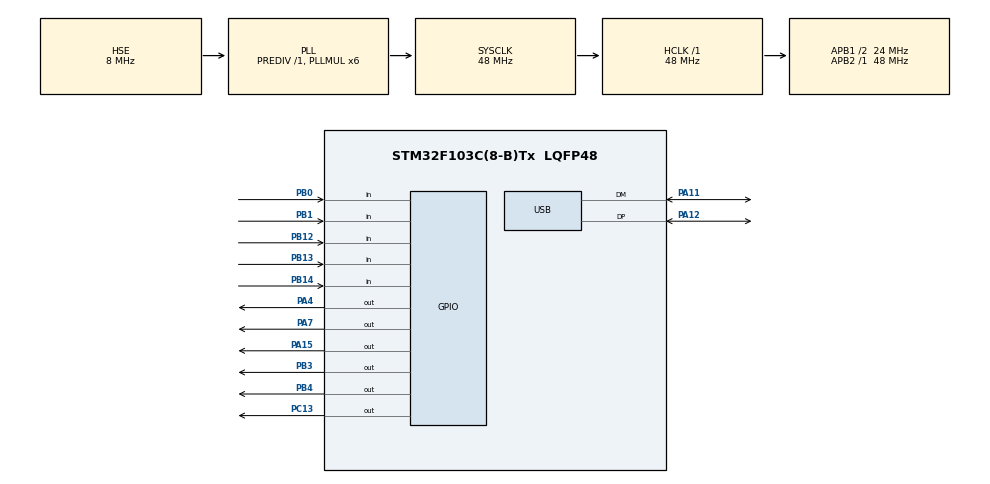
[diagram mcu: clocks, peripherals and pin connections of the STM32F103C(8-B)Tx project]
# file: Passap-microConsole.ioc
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Mcu.Family=STM32F1
Mcu.Name=STM32F103C(8-B)Tx
Mcu.Package=LQFP48
NVIC.PriorityGroup=NVIC_PRIORITYGROUP_4
NVIC.USB_LP_CAN1_RX0_IRQn=true\:0\:0\:false\:false\:true\:false\:true\:true
PA11.Mode=Device
PA11.Signal=USB_DM
PA12.Mode=Device
PA12.Signal=USB_DP
PA13.Mode=Serial_Wire
PA13.Signal=SYS_JTMS-SWDIO
PA14.Mode=Serial_Wire
PA14.Signal=SYS_JTCK-SWCLK
PA15.Signal=GPIO_Output
PA4.Signal=GPIO_Output
PA7.Signal=GPIO_Output
PB0.GPIO_PuPd=GPIO_PULLUP
PB0.Signal=GPIO_Input
PB1.GPIO_PuPd=GPIO_PULLUP
PB1.Signal=GPIO_Input
PB12.Signal=GPIO_Input
PB13.Signal=GPIO_Input
PB14.GPIO_PuPd=GPIO_PULLUP
PB14.Signal=GPIO_Input
PB3.Signal=GPIO_Output
PB4.Signal=GPIO_Output
PC13-TAMPER-RTC.Signal=GPIO_Output
PD0-OSC_IN.Mode=HSE-External-Oscillator
PD0-OSC_IN.Signal=RCC_OSC_IN
PD1-OSC_OUT.Mode=HSE-External-Oscillator
PD1-OSC_OUT.Signal=RCC_OSC_OUT
ProjectManager.HeapSize=0x200
ProjectManager.StackSize=0x400
ProjectManager.TargetToolchain=STM32CubeIDE
RCC.AHBFreq_Value=48000000
RCC.APB1CLKDivider=RCC_HCLK_DIV2
RCC.APB1Freq_Value=24000000
RCC.APB1TimFreq_Value=48000000
RCC.APB2Freq_Value=48000000
RCC.APB2TimFreq_Value=48000000
RCC.HCLKFreq_Value=48000000
RCC.PLLMUL=RCC_PLL_MUL6
RCC.SYSCLKFreq_VALUE=48000000
RCC.SYSCLKSource=RCC_SYSCLKSOURCE_PLLCLK
RCC.USBFreq_Value=48000000
USB_DEVICE.CLASS_NAME_FS=CDC
USB_DEVICE.VirtualMode=Cdc
USB_DEVICE.VirtualModeFS=Cdc_FS
VP_USB_DEVICE_VS_USB_DEVICE_CDC_FS.Mode=CDC_FS
board=custom

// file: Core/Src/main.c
/* USER CODE BEGIN Header */
/**
  ******************************************************************************
  * @file           : main.c
  * @brief          : Main program body
  ******************************************************************************
  * @attention
  *
  * Copyright (c) 2024 STMicroelectronics.
  * All rights reserved.
  *
  * This software is licensed under terms that can be found in the LICENSE file
  * in the root directory of this software component.
  * If no LICENSE file comes with this software, it is provided AS-IS.
  *
  ******************************************************************************
  */
  /* USER CODE END Header */
  /* Includes ------------------------------------------------------------------*/
#include "../Inc/main.h"
#include "usb_device.h"

/* USER CODE BEGIN Includes */
#include <stdio.h>
#include <string.h>
#include <inttypes.h>
#include "usbd_cdc_if.h"
#include "../Inc/index_tmp.hpp"
/* USER CODE END Includes */

void SystemClock_Config(void);
static void MX_GPIO_Init(void);

int main(void)
{

	/* MCU Configuration--------------------------------------------------------*/

	/* Reset of all peripherals, Initializes the Flash interface and the Systick. */
	HAL_Init();

	/* Configure the system clock */
	SystemClock_Config();

	/* Initialize all configured peripherals */
	MX_GPIO_Init();
	MX_USB_DEVICE_Init();
	/* USER CODE BEGIN 2 */

	uint8_t TxBuffer[] = " Passap MicroConsole  ";
	uint8_t TxBufferLen = sizeof(TxBuffer);
	int n2 = 5;
	while (n2 > 0) {
		CDC_Transmit_FS(TxBuffer, TxBufferLen);
		HAL_Delay(1000);
		--n2;
	};

	uint8_t  TxBuffer1[] = " Connection established ";
	CDC_Transmit_FS(TxBuffer1, 24);
	HAL_Delay(50);

#ifdef __cplusplus
	extern "C" {
#endif

		main_index(); // index.cpp

#ifdef __cplusplus
	}
#endif

	/* USER CODE END 2 */

	/* Infinite loop */
	while (1)
	{

	}
}

void SystemClock_Config(void)
{
	RCC_OscInitTypeDef RCC_OscInitStruct = { 0 };
	RCC_ClkInitTypeDef RCC_ClkInitStruct = { 0 };
	RCC_PeriphCLKInitTypeDef PeriphClkInit = { 0 };

	/** Initializes the RCC Oscillators according to the specified parameters
	* in the RCC_OscInitTypeDef structure.
	*/
	RCC_OscInitStruct.OscillatorType = RCC_OSCILLATORTYPE_HSE;
	RCC_OscInitStruct.HSEState = RCC_HSE_ON;
	RCC_OscInitStruct.HSEPredivValue = RCC_HSE_PREDIV_DIV1;
	RCC_OscInitStruct.HSIState = RCC_HSI_ON;
	RCC_OscInitStruct.PLL.PLLState = RCC_PLL_ON;
	RCC_OscInitStruct.PLL.PLLSource = RCC_PLLSOURCE_HSE;
	RCC_OscInitStruct.PLL.PLLMUL = RCC_PLL_MUL6;
	if (HAL_RCC_OscConfig(&RCC_OscInitStruct) != HAL_OK)
	{
		Error_Handler();
	}

	/** Initializes the CPU, AHB and APB buses clocks
	*/
	RCC_ClkInitStruct.ClockType = RCC_CLOCKTYPE_HCLK | RCC_CLOCKTYPE_SYSCLK
		| RCC_CLOCKTYPE_PCLK1 | RCC_CLOCKTYPE_PCLK2;
	RCC_ClkInitStruct.SYSCLKSource = RCC_SYSCLKSOURCE_PLLCLK;
	RCC_ClkInitStruct.AHBCLKDivider = RCC_SYSCLK_DIV1;
	RCC_ClkInitStruct.APB1CLKDivider = RCC_HCLK_DIV2;
	RCC_ClkInitStruct.APB2CLKDivider = RCC_HCLK_DIV1;

	if (HAL_RCC_ClockConfig(&RCC_ClkInitStruct, FLASH_LATENCY_1) != HAL_OK)
	{
		Error_Handler();
	}
	PeriphClkInit.PeriphClockSelection = RCC_PERIPHCLK_USB;
	PeriphClkInit.UsbClockSelection = RCC_USBCLKSOURCE_PLL;
	if (HAL_RCCEx_PeriphCLKConfig(&PeriphClkInit) != HAL_OK)
	{
		Error_Handler();
	}
}

static void MX_GPIO_Init(void)
{
	GPIO_InitTypeDef GPIO_InitStruct = { 0 };

	  /* GPIO Ports Clock Enable */
	__HAL_RCC_GPIOC_CLK_ENABLE();
	__HAL_RCC_GPIOD_CLK_ENABLE();
	__HAL_RCC_GPIOA_CLK_ENABLE();
	__HAL_RCC_GPIOB_CLK_ENABLE();

	/*Configure GPIO pin Output Level */
	HAL_GPIO_WritePin(GPIOC, GPIO_PIN_13, GPIO_PIN_RESET);

	/*Configure GPIO pin Output Level */
	HAL_GPIO_WritePin(GPIOA, GPIO_PIN_4 | GPIO_PIN_7 | GPIO_PIN_15, GPIO_PIN_RESET);

	/*Configure GPIO pin Output Level */
	HAL_GPIO_WritePin(GPIOB, GPIO_PIN_3 | GPIO_PIN_4, GPIO_PIN_RESET);

	/*Configure GPIO pin : PC13 */
	GPIO_InitStruct.Pin = GPIO_PIN_13;
	GPIO_InitStruct.Mode = GPIO_MODE_OUTPUT_PP;
	GPIO_InitStruct.Pull = GPIO_NOPULL;
	GPIO_InitStruct.Speed = GPIO_SPEED_FREQ_LOW;
	HAL_GPIO_Init(GPIOC, &GPIO_InitStruct);

	/*Configure GPIO pins : PA4 PA7 PA15 */
	GPIO_InitStruct.Pin = GPIO_PIN_4 | GPIO_PIN_7 | GPIO_PIN_15;
	GPIO_InitStruct.Mode = GPIO_MODE_OUTPUT_PP;
	GPIO_InitStruct.Pull = GPIO_NOPULL;
	GPIO_InitStruct.Speed = GPIO_SPEED_FREQ_LOW;
	HAL_GPIO_Init(GPIOA, &GPIO_InitStruct);

	/*Configure GPIO pins : PB0 PB1 PB14 */
	GPIO_InitStruct.Pin = GPIO_PIN_0 | GPIO_PIN_1 | GPIO_PIN_14;
	GPIO_InitStruct.Mode = GPIO_MODE_INPUT;
	GPIO_InitStruct.Pull = GPIO_PULLUP;
	HAL_GPIO_Init(GPIOB, &GPIO_InitStruct);

	/*Configure GPIO pins : PB12 PB13 */
	GPIO_InitStruct.Pin = GPIO_PIN_12 | GPIO_PIN_13;
	GPIO_InitStruct.Mode = GPIO_MODE_INPUT;
	GPIO_InitStruct.Pull = GPIO_NOPULL;
	HAL_GPIO_Init(GPIOB, &GPIO_InitStruct);

	/*Configure GPIO pins : PB3 PB4 */
	GPIO_InitStruct.Pin = GPIO_PIN_3 | GPIO_PIN_4;
	GPIO_InitStruct.Mode = GPIO_MODE_OUTPUT_PP;
	GPIO_InitStruct.Pull = GPIO_NOPULL;
	GPIO_InitStruct.Speed = GPIO_SPEED_FREQ_LOW;
	HAL_GPIO_Init(GPIOB, &GPIO_InitStruct);

}

void Error_Handler(void)
{
	__disable_irq();
	while (1)
	{
	}
}
